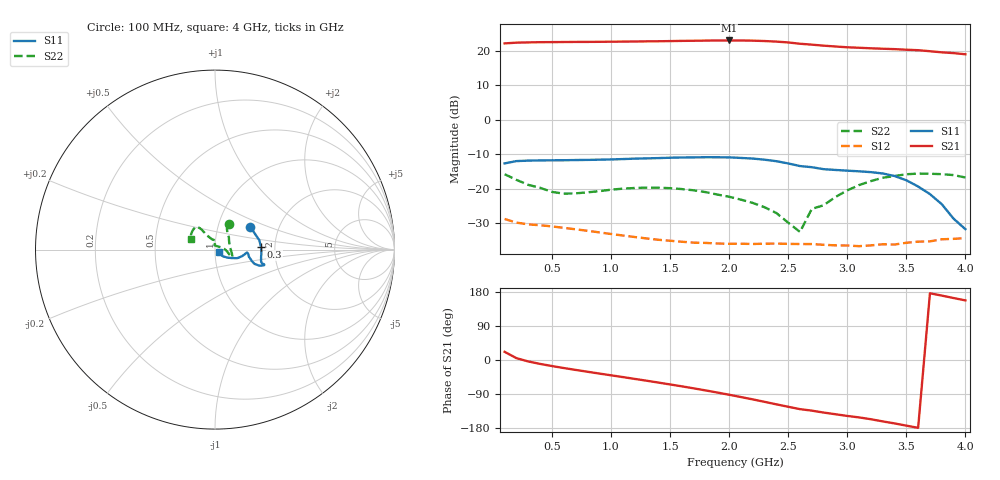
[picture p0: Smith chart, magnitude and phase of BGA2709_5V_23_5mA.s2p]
! Bias: Vs=5.00 V; Is=23.5 mA
#  MHz  S  MA  R 50
! Freq  S11  S21  S12  S22
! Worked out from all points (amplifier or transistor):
!   40 points, 100 MHz to 4 GHz, reference 50 ohm
!   highest |S21| = 23.1 dB at 2 GHz (marker M1)
!   |S21| within 3 dB of that: start of sweep to 3.657 GHz
!   unconditionally stable (mu >= 1): start of sweep to end of sweep
!   at 700 MHz: K = 1.48, MAG = 23.1 dB, |S12| = -31.7 dB
!   at 2.1 GHz: K = 2.13, MAG = 23.5 dB, |S12| = -35.9 dB
!   at 4 GHz: K = 2.91, MAG = 19.2 dB, |S12| = -34.3 dB
!   S11 on the Smith chart (normalised r, x): 100 MHz: 1.43, +0.38; 300 MHz: 1.69, +0.06; 4 GHz: 1.05, -0.03
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100  0.2336 32.3  12.91 21.6  0.0365 16.4  0.163 61.6
200  0.2525 11.8  13.23 4.9  0.03231 5.7  0.135 60.6
300  0.2566 3.4  13.34 -3.9  0.03049 -1.1  0.1142 52.7
500  0.2595 -5.8  13.47 -15.9  0.02848 -8.9  0.09026 29.4
800  0.2628 -12.8  13.57 -30.9  0.02461 -15.1  0.08889 -1.9
1100  0.2702 -15.9  13.7 -45.0  0.021 -16.1  0.1004 -17.8
1400  0.2792 -16.5  13.86 -59.5  0.01822 -13.4  0.1038 -23.2
1700  0.2862 -16.8  14.09 -74.8  0.01656 -8.2  0.09516 -23.2
1900  0.2873 -17.3  14.23 -85.8  0.01608 -3.6  0.08263 -18.2
2000  0.286 -17.8  14.24 -91.7  0.01591 -2.0  0.07679 -14.5
2100  0.2808 -18.3  14.21 -97.8  0.01595 -0.1  0.06966 -10.1
2200  0.2749 -19.0  14.14 -103.9  0.01583 1.1  0.06246 -4.5
2300  0.2647 -19.8  13.96 -110.4  0.01596 1.9  0.05402 2.5
2500  0.2337 -19.8  13.31 -123.4  0.01587 3.2  0.03229 25.9
2600  0.214 -17.1  12.75 -129.7  0.0158 3.1  0.02367 98.1
2700  0.206 -15.2  12.38 -133.6  0.01578 6.6  0.05109 85.0
2900  0.1879 -8.3  11.64 -143.1  0.01512 8.5  0.07602 114.9
3200  0.1746 -6.3  10.95 -156.3  0.0151 15.5  0.1295 123.3
3400  0.1534 -14.1  10.65 -167.3  0.01553 20.6  0.1532 126.6
3600  0.108 -26.1  10.28 -179.1  0.01711 23.9  0.1663 131.7
3900  0.03687 -43.9  9.332 163.5  0.01878 23.7  0.1583 147.5
4000  0.02595 -28.9  8.977 157.3  0.01928 18.4  0.146 157.0
